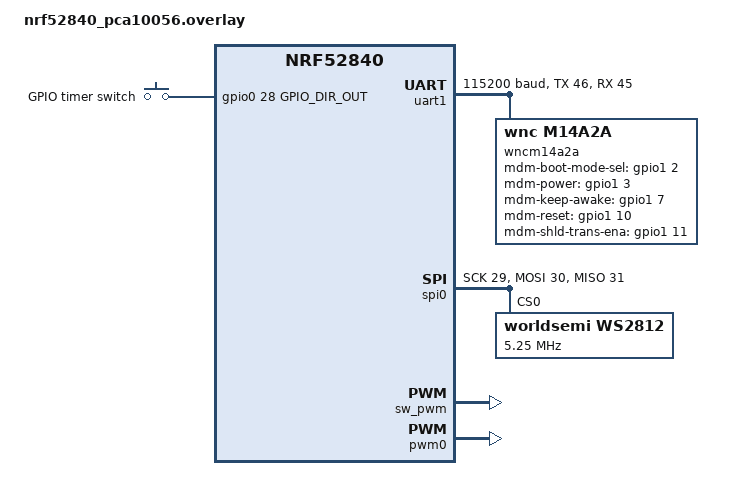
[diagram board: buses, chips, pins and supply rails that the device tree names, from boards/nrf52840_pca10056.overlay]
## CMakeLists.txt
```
cmake_minimum_required(VERSION 3.8.2)

# This application has its own Kconfig options.
set(KCONFIG_ROOT ${CMAKE_CURRENT_SOURCE_DIR}/Kconfig)

# CONF_FILE is prj.conf, plus (in addition to, not or) the following, if they
# exist:
#   - local.conf
#   - boards/${BOARD}.conf
#   - boards/${BOARD}-local.conf
#
# The possibly nonexistent files need to be absolute paths; otherwise, the
# behavior of EXISTS is not well-defined.
set(CONF_FILE prj.conf)
if(EXISTS ${CMAKE_CURRENT_SOURCE_DIR}/local.conf)
  set(CONF_FILE ${CONF_FILE} " local.conf")
endif()
if(EXISTS ${CMAKE_CURRENT_SOURCE_DIR}/boards/${BOARD}.conf)
  set(CONF_FILE ${CONF_FILE} " boards/${BOARD}.conf")
endif()
if(EXISTS ${CMAKE_CURRENT_SOURCE_DIR}/boards/${BOARD}-local.conf)
  set(CONF_FILE ${CONF_FILE} " boards/${BOARD}-local.conf")
endif()

if(EXISTS ${CMAKE_CURRENT_SOURCE_DIR}/boards/${BOARD}.overlay)
  # Individual boards must provide DTS overlays which declare the
  # application state partition, and, as appropriate, the DTLS
  # partition.
  set(DTC_OVERLAY_FILE ${DTC_OVERLAY_FILE} " ${CMAKE_CURRENT_SOURCE_DIR}/boards/${BOARD}.overlay")
else()
  # We used to be able to try to go on based on SoC-level defaults,
  # but now that DTS runs before Kconfig, we can't ifdef on the SoC in
  # a DTS overlay anymore. Absent a better solution, fail.
  message(FATAL_ERROR
    "Missing board support for this application; please write
    ${CMAKE_CURRENT_SOURCE_DIR}/boards/${BOARD}.overlay. (This is
    needed for now because DTS now runs before KConfig, so SoC-level
    defaults cannot be applied.)")
endif()

# Mandatory Zephyr boilerplate.
include($ENV{ZEPHYR_BASE}/cmake/app/boilerplate.cmake NO_POLICY_SCOPE)
project(NONE)

# Application "library" build configuration. TODO: move these out of this tree.
target_sources(app PRIVATE src/lib/product_id.c)
target_sources(app PRIVATE src/lib/lwm2m_credentials.c)

# Application build configuration.
target_include_directories(app PRIVATE $ENV{ZEPHYR_BASE}/subsys/testsuite/include/)
target_include_directories(app PRIVATE ${CMAKE_CURRENT_SOURCE_DIR}/src/lib)

target_sources(app PRIVATE src/main.c)
target_sources(app PRIVATE src/app_work_queue.c)
target_sources(app PRIVATE src/lwm2m.c)
target_sources(app PRIVATE src/settings.c)
target_sources(app PRIVATE src/light_control.c)
target_sources_ifdef(CONFIG_APP_LIGHT_TYPE_WS2812 app PRIVATE src/light_control_ws2812.c)
target_sources_ifdef(CONFIG_APP_LIGHT_TYPE_PWM app PRIVATE src/light_control_pwm.c)
target_sources_ifdef(CONFIG_APP_ENABLE_TIMER_OBJ app PRIVATE src/timer_control.c)
target_sources_ifdef(CONFIG_NET_L2_BT        app PRIVATE src/bluetooth.c)

target_link_libraries_ifdef(CONFIG_MBEDTLS app PRIVATE mbedTLS)
```

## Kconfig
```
# Copyright (c) 2017 Linaro Limited
# Copyright (c) 2018 Foundries.io
#
# SPDX-License-Identifier: Apache-2.0
#

mainmenu "LWM2M application configuration"

choice
	prompt "FOTA network interface"
	default FOTA_NET_OPENTHREAD if SOC_NRF52840
	default FOTA_NET_BLE6LOWPAN if SOC_NRF52832
	default FOTA_NET_DEFAULT
	help
	  This selection represents an abstract choice for network interface
	  which in turn allows us to set the HW specific configs.

config FOTA_NET_OPENTHREAD
	bool "OpenThread"
	help
	  Connect to host via OpenThread

config FOTA_NET_802154
	bool "IEEE 802.15.4"
	help
	  Connect to host via IEEE 802.15.4

config FOTA_NET_BLE6LOWPAN
	bool "BLE 6LoWPAN"
	help
	  Connect to host via BLE / 6LoWPAN

config FOTA_NET_MODEM
	bool "Modem"
	help
	  Connect to host via modem

config FOTA_NET_DEFAULT
	bool "Other"
	help
	  Connect to host via HW default method (ethernet, etc)

endchoice

config FOTA_DEVICE
	bool "Enable FOTA device settings"
	default y
	select FOTA_DEVICE_SOC_SERIES_KINETIS_K6X if SOC_SERIES_KINETIS_K6X
	select FOTA_DEVICE_SOC_SERIES_NRF52X if SOC_SERIES_NRF52X
	select NET_IPV6 if FOTA_NET_OPENTHREAD || FOTA_NET_BLE6LOWPAN || FOTA_NET_802154
	select NET_CONFIG_NEED_IPV6 if FOTA_NET_OPENTHREAD || FOTA_NET_BLE6LOWPAN || FOTA_NET_802154
	select NET_IPV4 if FOTA_NET_MODEM
	select NET_CONFIG_NEED_IPV4 if FOTA_NET_MODEM
	help
	  Main config to enable device specific settings

config FOTA_ENDPOINT_PREFIX
	string "LwM2M endpoint will start with this string"
	default "zmp"
	help
	  LwM2M endpoint names follow this format "<prefix>:sn:<serial #>".
	  This setting allows you to set the "zmp" portion to a custom value.

config FOTA_DEVICE_SOC_SERIES_KINETIS_K6X
	bool "Kinetis K6x FOTA settings"
	select NET_SHELL
	select NET_IPV4
	select NET_UDP
	select NET_CONFIG_NEED_IPV4
	default n

if FOTA_DEVICE_SOC_SERIES_KINETIS_K6X

# IPv6 is enabled by default in Zephyr's Kconfig when networking is selected.
config NET_IPV6
	default n
config NET_CONFIG_NEED_IPV6
	default n

endif # FOTA_DEVICE_SOC_SERIES_KINETIS_K6X

config FOTA_DEVICE_SOC_SERIES_NRF52X
	bool "Nordic Semiconductor nRF52 FOTA settings"
	select SENSOR
	select TEMP_NRF5
	select ENTROPY_NRF5_RNG
	select NET_SHELL if SOC_NRF52840
	default n

config FOTA_LED_GPIO_INVERTED
	bool "Set this if your hardware has an inverted LED GPIO"
	default y if SOC_NRF52840
	help
	  This setting is used to invert the GPIO pin settings when toggling
	  the "Light Control" LED.

config FOTA_ERASE_PROGRESSIVELY
	bool "Erase flash progressively when updating/receiving new firmware"
	default y if SOC_NRF52840
	help
	 If enabled, flash is erased as necessary when receiving and marking
         new firmware as ok, instead of erasing the whole image slot at once.
         This is necessary on some hardware that has long erase times, to
         prevent long wait times at various stages where large erases are
         performed.

if FOTA_DEVICE_SOC_SERIES_NRF52X

config TEMP_NRF5_NAME
	default "fota-temp"

if APP_LIGHT_TYPE_WS2812

# SPI for WS2812, uses SPI 0, with SoC->ring data on nrf52 pin 2 (MOSI).
config SPI_0
	default y

config SPI_NRFX
	default y

endif # APP_LIGHT_TYPE_WS2812
endif # FOTA_DEVICE_SOC_SERIES_NRF52X

# OpenThread settings
if FOTA_NET_OPENTHREAD
rsource "network_defaults/Kconfig.defaults.ot"
endif # FOTA_NET_OPENTHREAD

# IEEE 802.15.4 Settings
if FOTA_NET_802154
rsource "network_defaults/Kconfig.defaults.ieee802154"
endif # FOTA_NET_802154

# BLE / 6LoWPAN settings
if FOTA_NET_BLE6LOWPAN
rsource "network_defaults/Kconfig.defaults.ble6lowpan"
endif # FOTA_NET_BLE6LOWPAN

# Modem Settings
if FOTA_NET_MODEM
rsource "network_defaults/Kconfig.defaults.modem"
endif # FOTA_NET_MODEM

# General defaults

config NET_RX_STACK_SIZE
	default 5120 if FOTA_NET_OPENTHREAD
	default 2048

config DNS_SERVER1
	default "8.8.8.8" if FOTA_NET_MODEM || FOTA_NET_DEFAULT

module = FOTA
module-dep = LOG
module-str = Log level for FOTA application
source "subsys/logging/Kconfig.template.log_config"

rsource "Kconfig.app"

# Leave this at the bottom: we need to override Zephyr's default settings
# with some of the values above.
source "$ZEPHYR_BASE/Kconfig.zephyr"
```

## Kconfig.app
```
# Copyright (c) 2017 Linaro Limited
# Copyright (c) 2018 Open Source Foundries Limited
#
# SPDX-License-Identifier: Apache-2.0
#

# Selector for what type of light this is.
choice APP_LIGHT_TYPE
	prompt "Type of lighting technology which is in use"
	default APP_LIGHT_TYPE_WS2812

config APP_LIGHT_TYPE_PWM
	bool "LEDs with PWM brightness"
	select PWM
	select PWM_NRF5_SW
	help
	  Select this option to use this application with up to four
	  LEDs (supporting red, green, blue, and white color channels, but
	  not requiring any of them).

config APP_LIGHT_TYPE_WS2812
	bool "LEDs from WS2812 strip"
	select SPI
	select LED_STRIP
	select WS2812_STRIP
	help
	  Select this to use WS2812 LED strips.

endchoice # APP_LIGHT_TYPE

config APP_ENABLE_TIMER_OBJ
	bool "Adds GPIO timer functionality for auto-shutoff"
	select GPIO
	select LWM2M_IPSO_TIMER
	help
	  This option adds a IPSO Timer object tied to P05 which can be set
	  to auto-reset after x second delay.

rsource "Kconfig.app.pwm"
```

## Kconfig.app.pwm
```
# Copyright (c) 2018 Open Source Foundries Limited
#
# SPDX-License-Identifier: Apache-2.0

if APP_LIGHT_TYPE_PWM

comment "Options for white color channel"

config APP_PWM_WHITE
	bool
	prompt "Enable dedicated PWM for white color"
	default y

if APP_PWM_WHITE

config APP_PWM_WHITE_DEV
	string
	prompt "PWM device name used for white"

config APP_PWM_WHITE_PIN
	int
	prompt "PWM pin number used for white"
	default 0

config APP_PWM_WHITE_PIN_CEILING
	int
	prompt "PWM pin level ceiling"
	default 255
	range 1 255

endif # APP_PWM_WHITE

comment "Options for red color channel"

config APP_PWM_RED
	bool
	prompt "Enable dedicated PWM for red"
	default n

if APP_PWM_RED

config APP_PWM_RED_DEV
	string
	prompt "PWM device name used for red"

config APP_PWM_RED_PIN
	int
	prompt "PWM pin number used for red"
	default 0

config APP_PWM_RED_PIN_CEILING
	int
	prompt "PWM pin level ceiling"
	default 255
	range 1 255

endif # APP_PWM_RED

comment "Options for green color channel"

config APP_PWM_GREEN
	bool
	prompt "Enable dedicated PWM for green"
	default n

if APP_PWM_GREEN

config APP_PWM_GREEN_DEV
	string
	prompt "PWM device name used for green"

config APP_PWM_GREEN_PIN
	int
	prompt "PWM pin number used for green"
	default 0

config APP_PWM_GREEN_PIN_CEILING
	int
	prompt "PWM pin level ceiling"
	default 255
	range 1 255

endif # APP_PWM_GREEN

comment "Options for blue color channel"

config APP_PWM_BLUE
	bool
	prompt "Enable dedicated PWM for blue"
	default n

if APP_PWM_BLUE

config APP_PWM_BLUE_DEV
	string
	prompt "PWM device name used for blue"

config APP_PWM_BLUE_PIN
	int
	prompt "PWM pin number used for blue"
	default 0

config APP_PWM_BLUE_PIN_CEILING
	int
	prompt "PWM pin level ceiling"
	default 255
	range 1 255

endif # APP_PWM_BLUE

endif # APP_LIGHT_TYPE_PWM
```

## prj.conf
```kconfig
CONFIG_BOOT_BANNER=y
CONFIG_REBOOT=y
CONFIG_FLASH=y
CONFIG_FLASH_PAGE_LAYOUT=y
CONFIG_NETWORKING=y
CONFIG_GPIO=y

# Network
CONFIG_NET_UDP=y
CONFIG_NET_MGMT=y
CONFIG_NET_MGMT_EVENT=y
CONFIG_NET_PKT_RX_COUNT=10
CONFIG_NET_PKT_TX_COUNT=10
CONFIG_NET_BUF_RX_COUNT=10
CONFIG_NET_BUF_TX_COUNT=10

# FOTA
CONFIG_BOOTLOADER_MCUBOOT=y
CONFIG_FOTA_DEVICE=y
CONFIG_IMG_MANAGER=y
CONFIG_MCUBOOT_IMG_MANAGER=y
# Enable settings storage
CONFIG_SETTINGS=y
CONFIG_FCB=y
CONFIG_SETTINGS_FCB=y

# CONFIG
CONFIG_NET_CONFIG_SETTINGS=y
CONFIG_NET_CONFIG_PEER_IPV6_ADDR="mgmt.foundries.io"
CONFIG_NET_CONFIG_PEER_IPV4_ADDR="mgmt.foundries.io"

# LWM2M
CONFIG_LWM2M=y
CONFIG_LWM2M_SERVER_INSTANCE_COUNT=2
# CONFIG_LWM2M_RW_JSON_SUPPORT is not set
CONFIG_LWM2M_COAP_BLOCK_SIZE=256
CONFIG_LWM2M_IPSO_SUPPORT=y
CONFIG_LWM2M_IPSO_TEMP_SENSOR=y
CONFIG_LWM2M_IPSO_LIGHT_CONTROL=y
CONFIG_LWM2M_PERSIST_SETTINGS=y

# Extra COAP settings
CONFIG_COAP_EXTENDED_OPTIONS_LEN=y
CONFIG_COAP_EXTENDED_OPTIONS_LEN_VALUE=32

# Logging
CONFIG_LOG=y
CONFIG_LOG_DEFAULT_LEVEL=0
CONFIG_BT_LOG_LEVEL_OFF=y
CONFIG_FOTA_LOG_LEVEL_DBG=y
CONFIG_LWM2M_LOG_LEVEL_INF=y

# DNS
CONFIG_DNS_RESOLVER=y
CONFIG_DNS_SERVER_IP_ADDRESSES=y
# Set DNS server entries Kconfig and boards/*.conf
# Needed by socket-based DNS lookup
CONFIG_MINIMAL_LIBC_MALLOC_ARENA_SIZE=360

# Bluetooth (when enabled) debug
#CONFIG_BT_DEBUG_LOG=y
#CONFIG_BT_DEBUG_HCI_DRIVER=y

# Add flash RW to MPU
CONFIG_MPU_ALLOW_FLASH_WRITE=y

# LwM2M workqueue requires a larger stack
CONFIG_SYSTEM_WORKQUEUE_STACK_SIZE=2048

# Debug helpers
#CONFIG_NET_LOG=y
#CONFIG_NET_SOCKETS_LOG_LEVEL_DBG=y
#CONFIG_NET_CORE_LOG_LEVEL_DBG=y
#CONFIG_NET_IF_LOG_LEVEL_DBG=y
#CONFIG_NET_UTILS_LOG_LEVEL_DBG=y
#CONFIG_NET_CONTEXT_LOG_LEVEL_DBG=y
#CONFIG_NET_PKT_LOG_LEVEL_DBG=y
#CONFIG_NET_DEBUG_NET_PKT_ALLOC=y
#CONFIG_NET_BUF_POOL_USAGE=y
#CONFIG_NET_CONN_LOG_LEVEL_DBG=y
#CONFIG_NET_ROUTE_LOG_LEVEL_DBG=y
#CONFIG_NET_IPV4_LOG_LEVEL_DBG=y
#CONFIG_NET_IPV6_LOG_LEVEL_DBG=y
#CONFIG_NET_ICMPV6_LOG_LEVEL_DBG=y
#CONFIG_NET_IPV6_NBR_CACHE_LOG_LEVEL_DBG=y
#CONFIG_NET_6LO_LOG_LEVEL_DBG=y
#CONFIG_NET_UDP_LOG_LEVEL_DBG=y
#CONFIG_NET_L2_ETHERNET_LOG_LEVEL_DBG=y
#CONFIG_NET_L2_BT_LOG_LEVEL_DBG=y
#CONFIG_MODEM_LOG_LEVEL_DBG=y
#CONFIG_INIT_STACKS=y
#CONFIG_STACK_USAGE=y
#CONFIG_STACK_SENTINEL=y
```

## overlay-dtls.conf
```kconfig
# DTLS settings
CONFIG_NET_APP_DTLS=y
CONFIG_MBEDTLS=y
CONFIG_MBEDTLS_BUILTIN=y
CONFIG_MBEDTLS_ENABLE_HEAP=y
CONFIG_MBEDTLS_HEAP_SIZE=8192
CONFIG_MBEDTLS_CFG_FILE="config-coap.h"
CONFIG_LWM2M_PEER_PORT=5684

# HACK: temporarily make room on flash
CONFIG_SYS_LOG_EXT_HOOK=n
CONFIG_SYS_LOG_FOTA_LEVEL=3

# Raise Event Management stack for DTLS
CONFIG_NET_MGMT_EVENT_STACK_SIZE=1024

# This defaults to y in our configuration, but we aren't relying on
# link layer security and it puts us over our flash budget, so turn it
# back off for now.
# CONFIG_BT_TINYCRYPT_ECC is not set
```

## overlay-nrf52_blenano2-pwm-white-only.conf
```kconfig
# Turn on PWM support
CONFIG_APP_LIGHT_TYPE_PWM=y

# PWM settings (when enabled)
CONFIG_PWM_NRF5_SW_0_DEV_NAME="PWM_0"
CONFIG_APP_PWM_WHITE_DEV="PWM_0"
CONFIG_APP_PWM_WHITE_PIN=5
CONFIG_APP_PWM_RED=n
# CONFIG_APP_PWM_RED_DEV="PWM_0"
# CONFIG_APP_PWM_RED_PIN=6
CONFIG_APP_PWM_GREEN=n
# CONFIG_APP_PWM_GREEN_DEV="PWM_0"
# CONFIG_APP_PWM_GREEN_PIN=7
CONFIG_APP_PWM_BLUE=n
# CONFIG_APP_PWM_BLUE_DEV="PWM_0"
# CONFIG_APP_PWM_BLUE_PIN=8
```

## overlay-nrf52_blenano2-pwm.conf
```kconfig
# Turn on PWM support
CONFIG_APP_LIGHT_TYPE_PWM=y
CONFIG_PWM_0=y

# PWM settings (when enabled)
CONFIG_PWM_NRF5_SW_0_DEV_NAME="PWM_0"
CONFIG_APP_PWM_WHITE_DEV="PWM_0"
CONFIG_APP_PWM_WHITE_PIN=5
CONFIG_APP_PWM_RED_DEV="PWM_0"
CONFIG_APP_PWM_RED_PIN=6
CONFIG_APP_PWM_GREEN_DEV="PWM_0"
CONFIG_APP_PWM_GREEN_PIN=7
CONFIG_APP_PWM_BLUE_DEV="PWM_0"
CONFIG_APP_PWM_BLUE_PIN=8
```

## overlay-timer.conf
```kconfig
# Turn on IPSO Timer support
CONFIG_APP_ENABLE_TIMER_OBJ=y
```

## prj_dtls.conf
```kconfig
CONFIG_BOOT_BANNER=y
CONFIG_BUILD_TIMESTAMP=y
CONFIG_REBOOT=y
CONFIG_FLASH=y
CONFIG_NETWORKING=y

# Leave device specific settings to enable IPV*
CONFIG_NET_IPV6=n
CONFIG_NET_IPV4=n

# Network
CONFIG_NET_UDP=y
CONFIG_NET_MGMT=y
CONFIG_NET_MGMT_EVENT=y
CONFIG_NET_RX_STACK_SIZE=2048
CONFIG_NET_PKT_RX_COUNT=10
CONFIG_NET_PKT_TX_COUNT=10
CONFIG_NET_BUF_RX_COUNT=10
CONFIG_NET_BUF_TX_COUNT=10

# FOTA
CONFIG_FOTA_DEVICE=y
CONFIG_IMG_MANAGER=y
CONFIG_MCUBOOT_IMG_MANAGER=y

# APP
CONFIG_APP_PWM_WHITE=y
CONFIG_APP_PWM_RED=y
CONFIG_APP_PWM_GREEN=y
CONFIG_APP_PWM_BLUE=y

# NET APP
CONFIG_NET_APP=y
CONFIG_NET_APP_NEED_IPV6=n
CONFIG_NET_APP_NEED_IPV4=n
CONFIG_NET_APP_CLIENT=y
CONFIG_NET_APP_SETTINGS=y
CONFIG_NET_APP_BT_NODE=y
CONFIG_BT_DEVICE_NAME="Linaro IPSP node"
# following BT-related configs which are not needed as a peripheral
CONFIG_BT_CTLR_CONN_PARAM_REQ=n
CONFIG_BT_CTLR_ADV_EXT=n

# PWM
CONFIG_PWM=y
CONFIG_SYS_LOG_PWM_LEVEL=0

# COAP
CONFIG_COAP_EXTENDED_OPTIONS_LEN=y
CONFIG_COAP_EXTENDED_OPTIONS_LEN_VALUE=32

# LWM2M
CONFIG_LWM2M=y
CONFIG_LWM2M_RD_CLIENT_INSTANCE_COUNT=1
CONFIG_LWM2M_ENGINE_MAX_OBSERVER=10
CONFIG_LWM2M_SERVER_INSTANCE_COUNT=2
# CONFIG_LWM2M_RW_JSON_SUPPORT is not set
CONFIG_LWM2M_COAP_BLOCK_SIZE=256
CONFIG_LWM2M_FIRMWARE_UPDATE_PULL_COAP_PROXY_SUPPORT=y
CONFIG_LWM2M_IPSO_SUPPORT=y
CONFIG_LWM2M_IPSO_TEMP_SENSOR=y
CONFIG_LWM2M_IPSO_LIGHT_CONTROL=y
CONFIG_SYS_LOG_LWM2M_LEVEL=3

# Logging
CONFIG_SYS_LOG=y
# HACK: temporarily make room on flash
# CONFIG_SYS_LOG_EXT_HOOK is not set
CONFIG_SYS_LOG_FOTA_LEVEL=3

# Bluetooth (when enabled) debug
#CONFIG_BT_DEBUG_LOG=y
#CONFIG_BT_DEBUG_HCI_DRIVER=y

# Add flash RW to MPU
CONFIG_MPU_ALLOW_FLASH_WRITE=y

# DTLS settings
CONFIG_NET_APP_DTLS=y
CONFIG_MBEDTLS=y
CONFIG_MBEDTLS_BUILTIN=y
CONFIG_MBEDTLS_ENABLE_HEAP=y
CONFIG_MBEDTLS_HEAP_SIZE=8192
CONFIG_MBEDTLS_CFG_FILE="config-coap.h"
CONFIG_LWM2M_PEER_PORT=5684

# Debug helpers
#CONFIG_NET_LOG=y
#CONFIG_SYS_LOG_NET_LEVEL=4
#CONFIG_NET_DEBUG_CORE=y
#CONFIG_NET_DEBUG_APP=y
#CONFIG_NET_DEBUG_IF=y
#CONFIG_NET_DEBUG_UTILS=y
#CONFIG_NET_DEBUG_CONTEXT=y
#CONFIG_NET_DEBUG_NET_PKT=y
#CONFIG_NET_DEBUG_NET_PKT_ALL=y
#CONFIG_NET_DEBUG_CONN=y
#CONFIG_NET_DEBUG_ROUTE=y
#CONFIG_NET_DEBUG_IPV4=y
#CONFIG_NET_DEBUG_IPV6=y
#CONFIG_NET_DEBUG_ICMPV6=y
#CONFIG_NET_DEBUG_IPV6_NBR_CACHE=y
#CONFIG_NET_DEBUG_6LO=y
#CONFIG_NET_DEBUG_UDP=y
#CONFIG_NET_DEBUG_L2_ETHERNET=y
#CONFIG_NET_DEBUG_L2_BT=y
#CONFIG_INIT_STACKS=y
#CONFIG_STACK_USAGE=y
```

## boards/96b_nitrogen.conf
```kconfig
CONFIG_NET_L2_BT=y

# network stack settings
CONFIG_NET_IF_UNICAST_IPV6_ADDR_COUNT=3
CONFIG_NET_IF_MCAST_IPV6_ADDR_COUNT=2
CONFIG_NET_CONFIG_INIT_TIMEOUT=0

# bluetooth settings
CONFIG_BT_RX_BUF_COUNT=10
CONFIG_BT_RX_BUF_LEN=128
CONFIG_BT_CTLR_RX_BUFFERS=6
CONFIG_BT_CTLR_TX_BUFFERS=7
CONFIG_BT_RX_STACK_SIZE=2048
CONFIG_BT_L2CAP_TX_BUF_COUNT=6

# PWM
CONFIG_PWM_NRF5_SW_0_DEV_NAME="PWM_0"

# APP
CONFIG_APP_PWM_WHITE_DEV="PWM_0"
CONFIG_APP_PWM_WHITE_PIN=4
CONFIG_APP_PWM_RED_DEV="PWM_0"
CONFIG_APP_PWM_RED_PIN=5
CONFIG_APP_PWM_GREEN_DEV="PWM_0"
CONFIG_APP_PWM_GREEN_PIN=6
CONFIG_APP_PWM_BLUE_DEV="PWM_0"
CONFIG_APP_PWM_BLUE_PIN=7

# Default IP configuration for IPv6 (gateway)
CONFIG_NET_CONFIG_PEER_IPV6_ADDR="fe80::d4e7:0:0:1"

# LWM2M (gateway)
CONFIG_LWM2M_FIRMWARE_UPDATE_PULL_COAP_PROXY_ADDR="coap://[fe80::d4e7:0:0:1]:5682"
```

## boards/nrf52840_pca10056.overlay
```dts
#include "common-nrf52840.overlay"

/*
 * The following is needed only for using the WNCM M14A2A modem.
 * FIXME: clean this up.
 */
&uart1 {
	current-speed = <115200>;
	status = "ok";
	tx-pin = <46>;
	rx-pin = <45>;
	rts-pin = <44>;
	cts-pin = <47>;

	wncm14a2a {
		compatible = "wnc,m14a2a";
		label = "wncm14a2a";
		mdm-boot-mode-sel-gpios = <&gpio1 2 0>;
		mdm-power-gpios = <&gpio1 3 0>;
		mdm-keep-awake-gpios = <&gpio1 7 0>;
		mdm-reset-gpios = <&gpio1 10 0>;
		mdm-shld-trans-ena-gpios = <&gpio1 11 0>;
		status = "ok";
	};
};

&spi0 {
	status = "ok";
	sck-pin = <29>;
	mosi-pin = <30>;
	miso-pin = <31>;

	ws2812@0 {
		compatible = "worldsemi,ws2812";
		reg = <0>;
		spi-max-frequency = <5250000>;
		label = "WS2812";
	};
};

&sw_pwm {
	status = "ok";
};

&pwm0 {
	status = "ok";
};

/ {
	buttons {
		compatible = "gpio-keys";
		timerswitch: timer_switch {
			gpios = <&gpio0 28 GPIO_DIR_OUT>;
			label = "GPIO timer switch";
		};
	};

	aliases {
		dt-sw-timer0 = &timerswitch;
	};
};
```

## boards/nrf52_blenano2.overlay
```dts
#include "common-nrf52832.overlay"

&spi0 {
	status = "ok";
	sck-pin = <6>;
	mosi-pin = <2>;
	miso-pin = <7>;

	ws2812@0 {
		compatible = "worldsemi,ws2812";
		reg = <0>;
		spi-max-frequency = <5250000>;
		label = "WS2812";
	};
};

&sw_pwm {
	status = "ok";
};

&pwm0 {
	status = "ok";
};

&uart0 {
	rts-pin = <0x03>;
};

/ {
	buttons {
		compatible = "gpio-keys";
		timerswitch: timer_switch {
			gpios = <&gpio0 5 GPIO_DIR_OUT>;
			label = "GPIO timer switch";
		};
	};

	aliases {
		dt-sw-timer0 = &timerswitch;
	};
};
```

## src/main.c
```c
/*
 * Copyright (c) 2016-2017 Linaro Limited
 * Copyright (c) 2018 Foundries.io
 *
 * SPDX-License-Identifier: Apache-2.0
 */

#define LOG_MODULE_NAME fota_main
#define LOG_LEVEL CONFIG_FOTA_LOG_LEVEL

#include <logging/log.h>
LOG_MODULE_REGISTER(LOG_MODULE_NAME);

#include <zephyr.h>
#include <sensor.h>
#include <gpio.h>
#include <net/lwm2m.h>
#include <tc_util.h>
#include <settings/settings.h>

/* Local helpers and functions */
#include "app_work_queue.h"
#include "product_id.h"
#include "lwm2m.h"
#include "light_control.h"
#include "settings.h"
#if defined(CONFIG_APP_ENABLE_TIMER_OBJ)
#include "timer_control.h"
#endif

/* Defines and configs for the IPSO elements */
#define TEMP_DEV		"fota-temp"
#define TEMP_CHAN		SENSOR_CHAN_DIE_TEMP

static struct device *die_dev;
static struct float32_value temp_float;

static int read_temperature(struct device *temp_dev,
			    struct float32_value *float_val)
{
	__unused const char *name = temp_dev->config->name;
	struct sensor_value temp_val;
	int ret;

	ret = sensor_sample_fetch(temp_dev);
	if (ret) {
		LOG_ERR("%s: I/O error: %d", name, ret);
		return ret;
	}

	ret = sensor_channel_get(temp_dev, TEMP_CHAN, &temp_val);
	if (ret) {
		LOG_ERR("%s: can't get data: %d", name, ret);
		return ret;
	}

	LOG_DBG("%s: read %d.%d C", name, temp_val.val1, temp_val.val2);
	float_val->val1 = temp_val.val1;
	float_val->val2 = temp_val.val2;

	return 0;
}

static void *temp_read_cb(u16_t obj_inst_id, size_t *data_len)
{
	/* Only object instance 0 is currently used */
	if (obj_inst_id != 0) {
		*data_len = 0;
		return NULL;
	}

	/*
	 * No need to check if read was successful, just reuse the
	 * previous value which is already stored at temp_float.
	 * This is because there is currently no way to report read_cb
	 * failures to the LWM2M engine.
	 */
	read_temperature(die_dev, &temp_float);
	lwm2m_engine_set_float32("3303/0/5700", &temp_float);
	*data_len = sizeof(temp_float);

	return &temp_float;
}

static int init_temp_device(void)
{
	die_dev = device_get_binding(TEMP_DEV);
	LOG_INF("%s on-die temperature sensor %s",
		die_dev ? "Found" : "Did not find", TEMP_DEV);

	if (!die_dev) {
		LOG_ERR("No temperature device found.");
		return -ENODEV;
	}

	return 0;
}

void main(void)
{
	app_wq_init();

	LOG_INF("LWM2M Smart Light Bulb");

	TC_START("Running Built in Self Test (BIST)");

	TC_PRINT("Initializing LWM2M IPSO Temperature Sensor\n");
	if (init_temp_device()) {
		Z_TC_END_RESULT(TC_FAIL, "init_temp_device");
		TC_END_REPORT(TC_FAIL);
		return;
	}
	lwm2m_engine_create_obj_inst("3303/0");
	lwm2m_engine_register_read_callback("3303/0/5700", temp_read_cb);
	lwm2m_engine_set_string("3303/0/5701", "Cel");
	Z_TC_END_RESULT(TC_PASS, "init_temp_device");

	TC_PRINT("Initializing IPSO Light Control\n");
	if (init_light_control()) {
		Z_TC_END_RESULT(TC_FAIL, "init_light_control");
		TC_END_REPORT(TC_FAIL);
		return;
	}
	Z_TC_END_RESULT(TC_PASS, "init_light_control");

#if defined(CONFIG_APP_ENABLE_TIMER_OBJ)
	TC_PRINT("Initializing IPSO Timer Control\n");
	if (init_timer_control()) {
		Z_TC_END_RESULT(TC_FAIL, "init_timer_control");
		TC_END_REPORT(TC_FAIL);
		return;
	}
	Z_TC_END_RESULT(TC_PASS, "init_timer_control");
#endif /* CONFIG_ENABLE_TIMER_OBJ */

	TC_PRINT("Initializing FOTA settings\n");
	if (fota_settings_init()) {
		Z_TC_END_RESULT(TC_FAIL, "fota_settings_init");
		TC_END_REPORT(TC_FAIL);
	}
	Z_TC_END_RESULT(TC_PASS, "fota_settings_init");

	/* Load *all* persistent settings */
#if defined(CONFIG_LWM2M_PERSIST_SETTINGS)
	settings_load();
	light_control_persist();
#if defined(CONFIG_APP_ENABLE_TIMER_OBJ)
	timer_control_persist();
#endif
#endif

	TC_END_REPORT(TC_PASS);

	if (lwm2m_init(app_work_q)) {
		return;
	}

	/*
	 * From this point on, just handle work.
	 */
	app_wq_run();
}
```

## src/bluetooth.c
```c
/*
 * Copyright (c) 2016-2017 Linaro Limited
 * Copyright (c) 2018 Foundries.io
 *
 * SPDX-License-Identifier: Apache-2.0
 */

#define LOG_MODULE_NAME fota_bluetooth
#define LOG_LEVEL CONFIG_FOTA_LOG_LEVEL

#include <logging/log.h>
LOG_MODULE_REGISTER(LOG_MODULE_NAME);

#include <zephyr/types.h>
#include <stddef.h>
#include <errno.h>
#include <zephyr.h>
#include <gpio.h>
#include <logging/log_ctrl.h>
#include <misc/reboot.h>
#include <net/bt.h>
#include <net/net_if.h>
#include <net/net_mgmt.h>
#include <init.h>
#include <soc.h>

#include <bluetooth/bluetooth.h>
#include <bluetooth/hci.h>
#include <bluetooth/conn.h>

#include "product_id.h"
#include "light_control.h"

#define LIGHT_FLASH_DURATION K_MSEC(200)

/* Defines for the LED elements */
#define LED_GPIO_PIN          LED0_GPIO_PIN
#if defined(LED0_GPIO_PORT)
#define LED_GPIO_PORT         LED0_GPIO_PORT
#else
#define LED_GPIO_PORT         LED0_GPIO_CONTROLLER
#endif

static void set_own_bt_addr(bt_addr_le_t *addr)
{
	int i;
	u8_t tmp;

	/*
	 * Generate a static BT addr using the unique product number.
	 */
	for (i = 0; i < 4; i++) {
		tmp = (product_id_get()->number >> i * 8) & 0xff;
		addr->a.val[i] = tmp;
	}

	addr->a.val[4] = 0xe7;
/*
 * For CONFIG_NET_L2_BT_ZEP1656, the U/L bit of the BT MAC is toggled by Zephyr.
 * Later that MAC is used to create the 6LOWPAN IPv6 address.  To account for
 * that, we set 0xd6 here which toggles to 0xd4 later (matching the Linux
 * gateway configuration for bt0).
 */
#if defined(CONFIG_NET_L2_BT_ZEP1656)
	addr->a.val[5] = 0xd6;
#else
	addr->a.val[5] = 0xd4;
#endif
}

/* BT LE Connect/Disconnect callbacks */
static void set_bluetooth_led(bool state)
{
#if defined(BT_GPIO_PIN) && defined(BT_GPIO_CONTROLLER)
	struct device *gpio;

	gpio = device_get_binding(BT_GPIO_CONTROLLER);
	gpio_pin_configure(gpio, BT_GPIO_PIN, GPIO_DIR_OUT);
	gpio_pin_write(gpio, BT_GPIO_PIN, state);
#elif defined(LED_GPIO_PIN) && defined(LED_GPIO_PORT)
	/* Use LED0 in case there is no dedicated LED for BT */
	struct device *gpio = device_get_binding(LED_GPIO_PORT);
	gpio_pin_configure(gpio, LED_GPIO_PIN, GPIO_DIR_OUT);
	gpio_pin_write(gpio, LED_GPIO_PIN, state);
#endif
}

static void connected(struct bt_conn *conn, u8_t err)
{
	if (err) {
		LOG_ERR("BT LE Connection failed: %u", err);
	} else {
		LOG_INF("BT LE Connected");
		light_control_flash(0x00, 0xff, 0x00, LIGHT_FLASH_DURATION);
		set_bluetooth_led(1);
	}
}

static void disconnected(struct bt_conn *conn, u8_t reason)
{
	LOG_ERR("BT LE Disconnected (reason %u), rebooting!", reason);
	light_control_flash(0xff, 0x00, 0x00, LIGHT_FLASH_DURATION);
	set_bluetooth_led(0);
	LOG_PANIC();
	sys_reboot(0);
}

static struct bt_conn_cb conn_callbacks = {
	.connected = connected,
	.disconnected = disconnected,
};

static int bt_network_init(struct device *dev)
{
	bt_addr_le_t bt_addr;
	int ret = 0;

	/* Storage used to provide a BT MAC based on the serial number */
	LOG_INF("Setting Bluetooth MAC");

	memset(&bt_addr, 0, sizeof(bt_addr_le_t));
	bt_addr.type = BT_ADDR_LE_RANDOM;
	set_own_bt_addr(&bt_addr);
	/* MAC is stored in network order, so print reversed */
	LOG_INF("Bluetooth MAC: %02x:%02x:%02x:%02x:%02x:%02x",
		bt_addr.a.val[5], bt_addr.a.val[4], bt_addr.a.val[3],
		bt_addr.a.val[2], bt_addr.a.val[1], bt_addr.a.val[0]);
	ret = bt_set_id_addr(&bt_addr);
	bt_conn_cb_register(&conn_callbacks);

	return ret;
}

int bt_network_disable(void)
{
	/* TODO: use a better way to select BT interface */
	struct net_if *iface = net_if_get_default();
	int ret;

	ret = net_mgmt(NET_REQUEST_BT_DISCONNECT, iface, NULL, 0);
	if (ret < 0) {
		LOG_ERR("Disconnect failed:%d", ret);
		return ret;
	}

	ret = net_mgmt(NET_REQUEST_BT_ADVERTISE, iface, "off", 0);
	if (ret < 0) {
		LOG_ERR("Error stopping advertise:%d", ret);
		return ret;
	}

	return 0;
}

/* last priority in the POST_KERNEL init levels */
SYS_INIT(bt_network_init, APPLICATION, CONFIG_APPLICATION_INIT_PRIORITY);
```

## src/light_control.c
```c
/*
 * Copyright (c) 2016-2017 Linaro Limited
 * Copyright (c) 2017-2018 Foundries.io
 *
 * SPDX-License-Identifier: Apache-2.0
 */

#define LOG_MODULE_NAME fota_light
#define LOG_LEVEL CONFIG_FOTA_LOG_LEVEL

#include <logging/log.h>
LOG_MODULE_REGISTER(LOG_MODULE_NAME);

#include <zephyr.h>
#include <net/lwm2m.h>

#include "light_control_priv.h"

/*
 * Singleton light controller in use.
 *
 * TODO: support multiple instances.
 */
static struct ipso_light_ctl *ilc;
static K_SEM_DEFINE(ilc_sem, 1, 1);

static u8_t char_to_nibble(char c)
{
	if (c >= '0' && c <= '9') {
		return c - '0';
	}

	if (c >= 'a' && c <= 'f') {
		return c - 'a' + 10U;
	}

	if (c >= 'A' && c <= 'F') {
		return c - 'A' + 10U;
	}

	LOG_ERR("Invalid ascii hex value (%c), assuming 0xF!", c);
	return 15U;
}

int light_control_parse_rgb(char *color, u16_t color_len, u8_t rgb[3])
{
	size_t i;

	/* Check if just HEX and #HEX */
	if (color_len < 6 || color_len > 7) {
		LOG_ERR("Invalid color length (%s)", color);
		return -EINVAL;
	}

	if (color_len == 7 && *color != '#') {
		LOG_ERR("Invalid color format (%s)", color);
		return -EINVAL;
	}

	/* Skip '#' if available */
	if (color_len == 7) {
		color += 1;
	}

	for (i = 0; i < 3; i++) {
		rgb[i] = (char_to_nibble(*color) << 4) |
				char_to_nibble(*(color + 1));
		color += 2;
	}

	return 0;
}

int light_control_register(struct ipso_light_ctl *light_control)
{
	if (ilc) {
		return -ENOMEM;
	} else {
		ilc = light_control;
		return 0;
	}
}

/* TODO: Move to a pre write hook that can handle ret codes once available */
static int on_off_cb(u16_t obj_inst_id, u8_t *data, u16_t data_len,
		     bool last_block, size_t total_size)
{
	bool on;
	int ret = 0;

	k_sem_take(&ilc_sem, K_FOREVER);

	if (data_len != 1) {
		LOG_ERR("Length of on_off callback data is incorrect! (%u)",
			data_len);
		goto out;
	}

	on = *data;

	ret = ilc->on_off_cb(ilc, on);
	if (ret) {
		goto out;
	}

	if (!on) {
		ret = ilc_set_on_time(ilc, 0);
	}

out:
	k_sem_give(&ilc_sem);
	return ret;
}

/* TODO: Move to a pre write hook that can handle ret codes once available */
static int dimmer_cb(u16_t obj_inst_id, u8_t *data, u16_t data_len,
		     bool last_block, size_t total_size)
{
	u8_t dimmer = *data;
	int ret;

	k_sem_take(&ilc_sem, K_FOREVER);

	if (dimmer > 100) {
		LOG_ERR("Invalid dimmer value %u, forcing it to 100",
			dimmer);
		dimmer = 100;
	}

	ret = ilc->dimmer_cb(ilc, dimmer);

	k_sem_give(&ilc_sem);
	return ret;
}

/* TODO: Move to a pre write hook that can handle ret codes once available */
static int color_cb(u16_t obj_inst_id, u8_t *data, u16_t data_len,
		    bool last_block, size_t total_size)
{
	int ret;

	k_sem_take(&ilc_sem, K_FOREVER);
	ret = ilc->color_cb(ilc, (char *)data, data_len);
	k_sem_give(&ilc_sem);

	return ret;
}

int init_light_control(void)
{
	int ret;

	if (!ilc) {
		ret = -ENODEV;
		goto fail;
	}

	/* Only one instance (ID 0) is supported. */
	ret = lwm2m_engine_create_obj_inst("3311/0");
	if (ret < 0) {
		goto fail;
	}

	ilc->inst_id = 0;
	ret = ilc->pre_init(ilc);
	if (ret < 0) {
		goto fail;
	}

	ret = lwm2m_engine_register_post_write_callback("3311/0/5850",
							on_off_cb);
	if (ret < 0) {
		goto fail;
	}

	ret = lwm2m_engine_register_post_write_callback("3311/0/5851",
							dimmer_cb);
	if (ret < 0) {
		goto fail;
	}

	ret = lwm2m_engine_register_post_write_callback("3311/0/5706",
							color_cb);
	if (ret < 0) {
		goto fail;
	}

	ret = ilc->post_init(ilc);
	if (ret < 0) {
		goto fail;
	}

	return 0;

fail:
	return ret;
}

int light_control_flash(u8_t r, u8_t g, u8_t b, s32_t duration)
{
	int ret;

	k_sem_take(&ilc_sem, K_FOREVER);
	if (!ilc) {
		LOG_ERR("no light registered but flash called");
		ret = -ENODEV;
	} else if (!ilc->flash) {
		LOG_WRN("light control object doesn't support flashing");
		ret = -EINVAL;
	} else {
		ret = ilc->flash(ilc, r, g, b, duration);
	}
	k_sem_give(&ilc_sem);
	return ret;
}

#if defined(CONFIG_LWM2M_PERSIST_SETTINGS)
void light_control_persist(void)
{
	/* save on/off state */
	lwm2m_engine_set_persist("3311/0/5850");
	/* save dimmer state */
	lwm2m_engine_set_persist("3311/0/5851");
	/* saver color */
	lwm2m_engine_set_persist("3311/0/5706");
}
#endif
```

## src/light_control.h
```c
/*
 * Copyright (c) 2016-2017 Linaro Limited
 * Copyright (c) 2017-2018 Open Source Foundries
 *
 * SPDX-License-Identifier: Apache-2.0
 */

#ifndef FOTA_LIGHT_CONTROL_H__
#define FOTA_LIGHT_CONTROL_H__

int init_light_control(void);
void light_control_persist(void);
int light_control_flash(u8_t r, u8_t g, u8_t b, s32_t duration);

#endif	/* FOTA_LIGHT_CONTROL_H__ */
```

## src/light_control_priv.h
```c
/*
 * Copyright (c) 2018 Open Source Foundries
 *
 * SPDX-License-Identifier: Apache-2.0
 */

#ifndef __FOTA_LIGHT_CONTROL_PRIV_H__
#define __FOTA_LIGHT_CONTROL_PRIV_H__

#include <zephyr/types.h>
#include <net/lwm2m.h>

#define IPSO_LIGHT_CTL_ONOFF     "5850"
#define IPSO_LIGHT_CTL_DIMMER    "5851"
#define IPSO_LIGHT_CTL_ON_TIME   "5852"
#define IPSO_LIGHT_CTL_CUM_PWR   "5805"
#define IPSO_LIGHT_CTL_PWR_FAC   "5820"
#define IPSO_LIGHT_CTL_COLOR     "5706"
#define IPSO_LIGHT_CTL_SNS_UNIT  "5701"

/**
 * Backend abstraction for an LWM2M-based IPSO light control object.
 *
 * Note: we can't easily migrate this into Zephyr's led.h API, as
 * that has no notion of color, and the IPSO object's color callback
 * takes opaque data in user-defined color spaces.
 */
struct ipso_light_ctl {
	/**
	 * Pre-initialize light controller
	 *
	 * This is invoked after the LWM2M object instance has been
	 * allocated, but before any of the following callbacks have
	 * been registered. It is an appropriate place to initialize
	 * internal resources, but not to call into the LWM2M engine.
	 *
	 * @param obj_inst_id LwM2M object instance ID
	 */
	int (*pre_init)(struct ipso_light_ctl *);

	/**
	 * Post-initialization setup routine.
	 *
	 * At this point, all of the following callbacks have been
	 * registered with the LwM2M engine.
	 */
	int (*post_init)(struct ipso_light_ctl *);

	/**
	 * This is invoked as part of the LWM2M callback installed for
	 * when the ON/OFF resource is written.
	 */
	int (*on_off_cb)(struct ipso_light_ctl *, bool on);
	/** This is invoked when dimmer resource is written. */
	int (*dimmer_cb)(struct ipso_light_ctl *, u8_t dimmer);
	/** This is invoked when color resource is written. */
	int (*color_cb)(struct ipso_light_ctl *, char *color, u16_t color_len);

	/** System hook for flashing an RGB color, if supported. */
	int (*flash)(struct ipso_light_ctl *, u8_t r, u8_t g, u8_t b,
		     s32_t duration);

	/**
	 * Buffer for resource paths.
	 *
	 * "3311" + "/" + <obj_inst_id> + "/" + <resource_id> + NUL
	 */
	char path_buf[4 + 1 + 4 + 1 + 4 + 1];

	/** Cached instance ID */
	u16_t inst_id;

	/** Private instance data. */
	void *data;
};

/*
 * Helpers for getting/setting commonly used IPSO light control object
 * resources.
 */

static inline char* _ilc_rsrc(struct ipso_light_ctl *ilc, const char *resource)
{
	snprintk(ilc->path_buf, sizeof(ilc->path_buf), "3311/%u/%s",
		 ilc->inst_id, resource);
	return ilc->path_buf;
}

static inline int ilc_get_onoff(struct ipso_light_ctl *ilc, bool *on)
{
	char *path = _ilc_rsrc(ilc, IPSO_LIGHT_CTL_ONOFF);
	return lwm2m_engine_get_bool(path, on);
}

static inline int ilc_set_onoff(struct ipso_light_ctl *ilc, bool on)
{
	char *path = _ilc_rsrc(ilc, IPSO_LIGHT_CTL_ONOFF);
	return lwm2m_engine_set_bool(path, on);
}

static inline int ilc_get_dimmer(struct ipso_light_ctl *ilc, u8_t *dimmer)
{
	char *path = _ilc_rsrc(ilc, IPSO_LIGHT_CTL_DIMMER);
	return lwm2m_engine_get_u8(path, dimmer);
}

static inline int ilc_set_dimmer(struct ipso_light_ctl *ilc, u8_t dimmer)
{
	char *path = _ilc_rsrc(ilc, IPSO_LIGHT_CTL_DIMMER);
	return lwm2m_engine_set_u8(path, dimmer);
}

static inline int ilc_set_on_time(struct ipso_light_ctl *ilc, s32_t on_time)
{
	char *path = _ilc_rsrc(ilc, IPSO_LIGHT_CTL_ON_TIME);
	return lwm2m_engine_set_s32(path, on_time);
}

static inline int ilc_set_sensor_units(struct ipso_light_ctl *ilc, char *units)
{
	char *path = _ilc_rsrc(ilc, IPSO_LIGHT_CTL_SNS_UNIT);
	return lwm2m_engine_set_string(path, units);
}

static inline int ilc_set_color(struct ipso_light_ctl *ilc, char *color)
{
	char *path = _ilc_rsrc(ilc, IPSO_LIGHT_CTL_COLOR);
	return lwm2m_engine_set_string(path, color);
}

/**
 * Install a backend object. This *must* be invoked by exactly one
 * backend during system initialization at a pre-application priority.
 */
int light_control_register(struct ipso_light_ctl *light_control);

/**
 * Helper for parsing an RGB triplet out of an ASCII color value.
 */
int light_control_parse_rgb(char *color, u16_t color_len, u8_t rgb[3]);

#endif	/* __FOTA_LIGHT_CONTROL_H__ */
```

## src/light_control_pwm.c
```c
/*
 * Copyright (c) 2018 Open Source Foundries
 *
 * SPDX-License-Identifier: Apache-2.0
 */

/**
 * @file
 * @brief Light control routines for PWMing individual color channels.
 */

#include <string.h>

#define LOG_MODULE_NAME fota_light_pwm
#define LOG_LEVEL CONFIG_FOTA_LOG_LEVEL

#include <logging/log.h>
LOG_MODULE_REGISTER(LOG_MODULE_NAME);

#include <device.h>
#include <pwm.h>
#include <init.h>

#include "light_control_priv.h"

/* Color Unit used by the IPSO object */
#define COLOR_UNIT	"hex"
#define COLOR_WHITE	"#FFFFFF"

/* Initial dimmer value (%) */
#define DIMMER_INITIAL	50

/* Is the light initially on? */
#define ON_INITIAL              false

/* 100 is more than enough for it to be flicker free */
#define PWM_PERIOD (USEC_PER_SEC / 100)

/* Private data type for struct ipso_light_ctl. */
struct pwm_data {
	u8_t color_rgb[3];
/* Support for up to 4 PWM devices */
#if defined(CONFIG_APP_PWM_RED)
	struct device *red;
#endif
#if defined(CONFIG_APP_PWM_GREEN)
	struct device *green;
#endif
#if defined(CONFIG_APP_PWM_BLUE)
	struct device *blue;
#endif
#if defined(CONFIG_APP_PWM_WHITE)
	struct device *white;
	u8_t white_current;
#endif
};

static u32_t scale_pulse(u8_t level, u8_t ceiling)
{
	if (level && ceiling) {
		/* Scale level based on ceiling and return period */
		return PWM_PERIOD / 255 * level * ceiling / 255;
	}

	return 0;
}

static int write_pwm_pin(struct device *pwm_dev, u32_t pwm_pin,
			 u8_t level, u8_t ceiling)
{
	u32_t pulse = scale_pulse(level, ceiling);

	LOG_DBG("Set PWM %d: level %d, ceiling %d, pulse %u",
		pwm_pin, level, ceiling, pulse);

	return pwm_pin_set_usec(pwm_dev, pwm_pin, PWM_PERIOD, pulse);
}

static int light_control_pwm_set_color(struct ipso_light_ctl *ilc, u8_t rgb[3])
{
	struct pwm_data *data = ilc->data;
	int ret = 0;

#if defined(CONFIG_APP_PWM_WHITE)
	u8_t white = 0;

	/* If a dedicated PWM is used for white, zero RGB */
	if (rgb[0] == rgb[1] && rgb[1] == rgb[2]) {
		white = rgb[0];
		rgb[0] = rgb[1] = rgb[2] = 0;
	}

	/*
	 * If switching from white->color we first need to disable white to
	 * avoid consuming 4 PWM pins (required for nRF5 devices).
	 */
	if (!white && data->white_current) {
		data->white_current = 0;
		ret = write_pwm_pin(data->white, CONFIG_APP_PWM_WHITE_PIN,
				    0, 0);
		if (ret) {
			LOG_ERR("Failed to update white PWM");
			return ret;
		}
	}
#endif

#if defined(CONFIG_APP_PWM_RED)
	ret = write_pwm_pin(data->red, CONFIG_APP_PWM_RED_PIN,
			    rgb[0], CONFIG_APP_PWM_RED_PIN_CEILING);
	if (ret) {
		LOG_ERR("Failed to update red PWM");
		return ret;
	}
#endif

#if defined(CONFIG_APP_PWM_GREEN)
	ret = write_pwm_pin(data->green, CONFIG_APP_PWM_GREEN_PIN,
			    rgb[1], CONFIG_APP_PWM_GREEN_PIN_CEILING);
	if (ret) {
		LOG_ERR("Failed to update green PWM");
		return ret;
	}
#endif

#if defined(CONFIG_APP_PWM_BLUE)
	ret = write_pwm_pin(data->blue, CONFIG_APP_PWM_BLUE_PIN,
			    rgb[2], CONFIG_APP_PWM_BLUE_PIN_CEILING);
	if (ret) {
		LOG_ERR("Failed to update blue PWM");
		return ret;
	}
#endif

#if defined(CONFIG_APP_PWM_WHITE)
	if (white != data->white_current) {
		data->white_current = white;
		ret = write_pwm_pin(data->white, CONFIG_APP_PWM_WHITE_PIN,
				    white, CONFIG_APP_PWM_WHITE_PIN_CEILING);
		if (ret) {
			LOG_ERR("Failed to update white PWM");
			return ret;
		}
	}
#endif

	return ret;
}

static int light_control_pwm_update(struct ipso_light_ctl *ilc, u8_t dimmer)
{
	struct pwm_data *data = ilc->data;
	u8_t rgb[3];
	int ret, i;

	memcpy(&rgb, data->color_rgb, 3);

	if (dimmer > 100) {
		dimmer = 100;
	}

	/*
	 * Update individual color values based on dimmer.
	 *
	 * This is just a direct map between dimmer and PWM, but not the best
	 * way to control the light brightness, as the human eye perceives
	 * it differently, but good enough for now as it is a simple method.
	 */
	for (i = 0; i < 3; i++) {
		rgb[i] = rgb[i] * dimmer / 100;
	}

	ret = light_control_pwm_set_color(ilc, rgb);
	if (ret) {
		LOG_ERR("Failed to update color");
		return ret;
	}

	return ret;
}

int light_control_pwm_pre_init(struct ipso_light_ctl *ilc)
{
	struct pwm_data *data = ilc->data;

#if defined(CONFIG_APP_PWM_WHITE)
	data->white = device_get_binding(CONFIG_APP_PWM_WHITE_DEV);
	if (!data->white) {
		LOG_ERR("Failed to get PWM device used for white");
		return -ENODEV;
	}
#endif
#if defined(CONFIG_APP_PWM_RED)
	data->red = device_get_binding(CONFIG_APP_PWM_RED_DEV);
	if (!data->red) {
		LOG_ERR("Failed to get PWM device used for red");
		return -ENODEV;
	}
#endif
#if defined(CONFIG_APP_PWM_GREEN)
	data->green = device_get_binding(CONFIG_APP_PWM_GREEN_DEV);
	if (!data->green) {
		LOG_ERR("Failed to get PWM device used for green");
		return -ENODEV;
	}
#endif
#if defined(CONFIG_APP_PWM_BLUE)
	data->blue = device_get_binding(CONFIG_APP_PWM_BLUE_DEV);
	if (!data->blue) {
		LOG_ERR("Failed to get PWM device used for blue");
		return -ENODEV;
	}
#endif

	/* Initial color: white */
	memset(data->color_rgb, 0xFF, sizeof(data->color_rgb));

	return 0;
}

int light_control_pwm_post_init(struct ipso_light_ctl *ilc)
{
	int ret;

	ret = ilc_set_dimmer(ilc, DIMMER_INITIAL);
	if (ret < 0) {
		return ret;
	}

	ret = ilc_set_sensor_units(ilc, COLOR_UNIT);
	if (ret < 0) {
		return ret;
	}

	ret = ilc_set_color(ilc, COLOR_WHITE);
	if (ret < 0) {
		return ret;
	}

	/* Set initial light state based on ON_INITIAL */
	if (ON_INITIAL) {
		ilc_set_onoff(ilc, true);
	}

	return 0;
}

static int light_control_pwm_on_off_cb(struct ipso_light_ctl *ilc, bool on)
{
	int ret = 0;
	u8_t dimmer = 0;

	if (on) {
		ret = ilc_get_dimmer(ilc, &dimmer);
		if (ret) {
			goto fail;
		}
	}

	ret = light_control_pwm_update(ilc, dimmer);
	if (ret) {
		goto fail;
	}

	return 0;

fail:
	LOG_ERR("Failed to update light state");
	return ret;
}

static int light_control_pwm_dimmer_cb(struct ipso_light_ctl *ilc, u8_t dimmer)
{
	int ret = 0;
	bool on;

	/* Update PWM output if light is 'on' */
	ret = ilc_get_onoff(ilc, &on);
	if (ret) {
		LOG_ERR("Failed to get onoff");
		return ret;
	}

	if (!on) {
		return 0;
	}

	ret = light_control_pwm_update(ilc, dimmer);
	if (ret) {
		LOG_ERR("Failed to update dimmer");
		return ret;
	}

	return 0;
}

static int light_control_pwm_color_cb(struct ipso_light_ctl *ilc,
				      char *color, u16_t color_len)
{
	struct pwm_data *data = ilc->data;
	u8_t color_rgb[3];
	u8_t dimmer;
	bool on;
	int ret;

	ret = light_control_parse_rgb(color, strlen(color), color_rgb);
	if (ret) {
		return ret;
	}

	memcpy(data->color_rgb, color_rgb, sizeof(data->color_rgb));
	LOG_DBG("RGB color updated to #%02x%02x%02x", color_rgb[0],
		color_rgb[1], color_rgb[2]);

	/* Update PWM output if light is 'on' */
	ret = ilc_get_onoff(ilc, &on);
	if (ret) {
		LOG_ERR("Failed to get onoff: %d", ret);
		return ret;
	}

	if (!on) {
		return 0;
	}

	ret = ilc_get_dimmer(ilc, &dimmer);
	if (ret) {
		LOG_ERR("Failed to get dimmer");
		return ret;
	}

	ret = light_control_pwm_update(ilc, dimmer);
	if (ret) {
		LOG_ERR("Failed to update color");
		return ret;
	}

	return ret;
}

static struct pwm_data data;

static struct ipso_light_ctl ilc_pwm = {
	.pre_init = light_control_pwm_pre_init,
	.post_init = light_control_pwm_post_init,
	.on_off_cb = light_control_pwm_on_off_cb,
	.dimmer_cb = light_control_pwm_dimmer_cb,
	.color_cb = light_control_pwm_color_cb,
	.data = &data,
};

static int light_control_register_pwm(struct device *dev)
{
	int ret = light_control_register(&ilc_pwm);
	if (ret) {
		LOG_ERR("failed: %d", ret);
	} else {
		LOG_INF("success");
	}
	return ret;
}

SYS_INIT(light_control_register_pwm, APPLICATION,
	 CONFIG_APPLICATION_INIT_PRIORITY);
```

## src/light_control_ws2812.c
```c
/*
 * Copyright (c) 2017-2018 Open Source Foundries Ltd.
 *
 * SPDX-License-Identifier: Apache-2.0
 */

#include <stdlib.h>

#define LOG_MODULE_NAME fota_light_led
#define LOG_LEVEL CONFIG_FOTA_LOG_LEVEL

#include <logging/log.h>
LOG_MODULE_REGISTER(LOG_MODULE_NAME);

#include <device.h>
#include <led_strip.h>
#include <init.h>

#include "light_control_priv.h"

#define WS2812_NUM_LEDS	CONFIG_WS2812_STRIP_MAX_PIXELS
#define WS2812_DEV_NAME	SPI_0_WORLDSEMI_WS2812_0_LABEL
#define SPI_DEV_NAME	SPI_0_WORLDSEMI_WS2812_0_BUS_NAME

/* Color Unit used by the IPSO object */
#define COLOR_UNIT		"hex"
#define COLOR_WHITE		"#FFFFFF"

/* Initial dimmer value (%) */
#define DIMMER_INITIAL		25

/* Is the light initially on? */
#define ON_INITIAL              false

struct ws2812_data {
	struct device *ws2812;
	struct led_rgb ws2812_buf[WS2812_NUM_LEDS];
	struct led_rgb color;
};

static int light_control_ws2812_update(struct ipso_light_ctl *ilc, u8_t dimmer)
{
	struct ws2812_data *data = ilc->data;
	struct led_rgb *buf = data->ws2812_buf;
	struct led_rgb *color = &data->color;
	u8_t r, g, b;
	size_t i;
	int ret;

	r = color->r * dimmer / 100;
	g = color->g * dimmer / 100;
	b = color->b * dimmer / 100;

	for (i = 0; i < WS2812_NUM_LEDS; i++) {
		buf[i].r = r;
		buf[i].g = g;
		buf[i].b = b;
	}

	ret = led_strip_update_rgb(data->ws2812, buf, WS2812_NUM_LEDS);

	return ret;
}

static int light_control_ws2812_pre_init(struct ipso_light_ctl *ilc)
{
	struct ws2812_data *data = ilc->data;
	struct device *spi;

	/* Sanity-check the SPI configuration. */
	spi = device_get_binding(SPI_DEV_NAME);
	if (spi) {
		LOG_INF("Found SPI device %s", SPI_DEV_NAME);
	} else {
		LOG_ERR("SPI device not found; you must choose a SPI "
			"device and configure its name to %s",
			SPI_DEV_NAME);
		return -ENODEV;
	}

	/* Cache the actual LED strip device. */
	data->ws2812 = device_get_binding(WS2812_DEV_NAME);
	if (data->ws2812) {
		LOG_INF("Found LED strip device %s", WS2812_DEV_NAME);
	} else {
		LOG_ERR("LED strip device %s not found", WS2812_DEV_NAME);
		return -ENODEV;
	}

	memset(data->ws2812_buf, 0xff, sizeof(data->ws2812_buf));
	memset(&data->color, 0xff, sizeof(data->color));

	return 0;
}

static int light_control_ws2812_post_init(struct ipso_light_ctl *ilc)
{
	int ret;

	ret = ilc_set_dimmer(ilc, DIMMER_INITIAL);
	if (ret < 0) {
		return ret;
	}

	ret = ilc_set_sensor_units(ilc, COLOR_UNIT);
	if (ret < 0) {
		return ret;
	}

	ret = ilc_set_color(ilc, COLOR_WHITE);
	if (ret < 0) {
		return ret;
	}

	ret = ilc_set_onoff(ilc, ON_INITIAL);
	if (ret < 0) {
		return ret;
	}

	return 0;
}

static int light_control_ws2812_on_off_cb(struct ipso_light_ctl *ilc, bool on)
{
	int ret = 0;
	u8_t dimmer = 0;

	if (on) {
		ret = ilc_get_dimmer(ilc, &dimmer);
		if (ret) {
			goto fail;
		}
	}

	ret = light_control_ws2812_update(ilc, dimmer);
	if (ret) {
		goto fail;
	}

	return 0;

fail:
	LOG_ERR("Failed to update light state");
	return ret;
}

static int light_control_ws2812_dimmer_cb(struct ipso_light_ctl *ilc,
					  u8_t dimmer)
{
	int ret = 0;
	bool on;

	/* Update output if light is 'on' */
	ret = ilc_get_onoff(ilc, &on);
	if (ret) {
		LOG_ERR("Failed to get onoff");
		return ret;
	}

	if (!on) {
		return 0;
	}

	ret = light_control_ws2812_update(ilc, dimmer);
	if (ret) {
		LOG_ERR("Failed to update dimmer");
		return ret;
	}

	return 0;
}

static int light_control_ws2812_color_cb(struct ipso_light_ctl *ilc,
					 char *color, u16_t color_len)
{
	struct ws2812_data *data = ilc->data;
	u8_t color_rgb[3];
	u8_t dimmer;
	bool on;
	int ret;

	ret = light_control_parse_rgb(color, strlen(color), color_rgb);
	if (ret) {
		return ret;
	}

	data->color.r = color_rgb[0];
	data->color.g = color_rgb[1];
	data->color.b = color_rgb[2];
	LOG_DBG("RGB color updated to #%02x%02x%02x", color_rgb[0],
		color_rgb[1], color_rgb[2]);

	/* Update output if light is 'on' */
	ret = ilc_get_onoff(ilc, &on);
	if (ret) {
		LOG_ERR("Failed to get onoff: %d", ret);
		return ret;
	}

	if (!on) {
		return 0;
	}

	ret = ilc_get_dimmer(ilc, &dimmer);
	if (ret) {
		LOG_ERR("Failed to get dimmer");
		return ret;
	}

	ret = light_control_ws2812_update(ilc, dimmer);
	if (ret) {
		LOG_ERR("Failed to update color");
		return ret;
	}

	return ret;
}

static int light_control_ws2812_flash(struct ipso_light_ctl *ilc,
				      u8_t r, u8_t g, u8_t b, s32_t duration)
{
	struct ws2812_data *data = ilc->data;
	struct led_rgb cache;
	u8_t dimmer = 0;
	bool onoff;
	int ret;

	ret = ilc_get_onoff(ilc, &onoff);
	if (ret) {
		return ret;
	}

	if (onoff) {
		ret = ilc_get_dimmer(ilc, &dimmer);
		if (ret) {
			return ret;
		}
	}

	memcpy(&cache, &data->color, sizeof(struct led_rgb));
	data->color.r = r;
	data->color.g = g;
	data->color.b = b;
	ret = light_control_ws2812_update(ilc, DIMMER_INITIAL);
	if (ret) {
		goto fail;
	}
	k_sleep(duration);
	memcpy(&data->color, &cache, sizeof(struct led_rgb));
	ret = light_control_ws2812_update(ilc, dimmer);
	return ret;

fail:
	memcpy(&data->color, &cache, sizeof(struct led_rgb));
	(void)light_control_ws2812_update(ilc, dimmer);
	return ret;
}

static struct ws2812_data data;

static struct ipso_light_ctl ilc_ws2812 = {
	.pre_init = light_control_ws2812_pre_init,
	.post_init = light_control_ws2812_post_init,
	.on_off_cb = light_control_ws2812_on_off_cb,
	.dimmer_cb = light_control_ws2812_dimmer_cb,
	.color_cb = light_control_ws2812_color_cb,
	.flash = light_control_ws2812_flash,
	.data = &data,
};

static int light_control_register_ws2812(struct device *dev)
{
	int ret = light_control_register(&ilc_ws2812);
	if (ret) {
		LOG_ERR("failed: %d", ret);
	} else {
		LOG_INF("success");
	}
	return ret;
}

SYS_INIT(light_control_register_ws2812, APPLICATION,
	 CONFIG_KERNEL_INIT_PRIORITY_DEVICE);
```

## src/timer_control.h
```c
/*
 * Copyright (c) 2019 Open Source Foundries
 *
 * SPDX-License-Identifier: Apache-2.0
 */

#ifndef FOTA_TIMER_CONTROL_H__
#define FOTA_TIMER_CONTROL_H__

int init_timer_control(void);
void timer_control_persist(void);

#endif	/* FOTA_TIMER_CONTROL_H__ */
```
